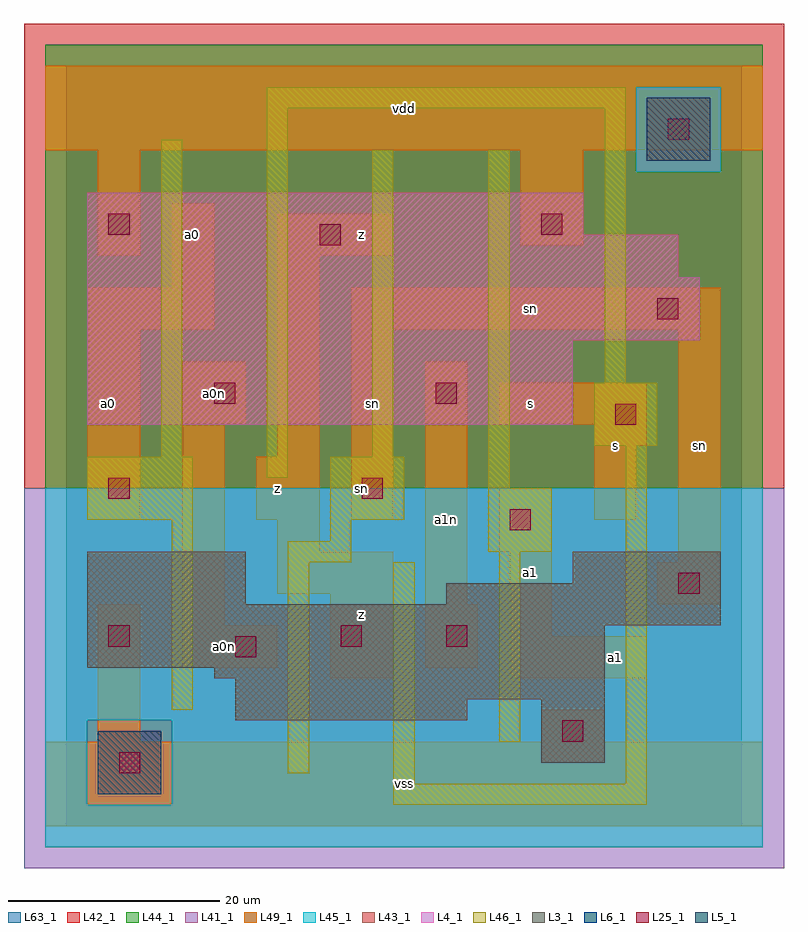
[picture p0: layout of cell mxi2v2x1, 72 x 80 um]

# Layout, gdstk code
import gdstk
lib = gdstk.Library(unit=1e-6, precision=1e-09)
def R(c, l, rs):  # rectangles x0, y0, x1, y1
    for r in rs: c.add(gdstk.rectangle(r[:2], r[2:], *l))
L3_1 = (3, 1)
L4_1 = (4, 1)
L5_1 = (5, 1)
L6_1 = (6, 1)
L25_1 = (25, 1)
L41_1 = (41, 1)
L42_1 = (42, 1)
L43_1 = (43, 1)
L44_1 = (44, 1)
L45_1 = (45, 1)
L46_1 = (46, 1)
L49_1 = (49, 1)
L63_1 = (63, 1)

mxi2v2x1 = lib.new_cell('mxi2v2x1')
R(mxi2v2x1, L3_1, [(45,6,51,12), (16,10,38,12), (16,12,51,14), (14,14,51,15), (2,15,51,19), (2,19,62,21), (2,21,17,26), (36,21,62,23), (48,23,62,26)])
R(mxi2v2x1, L4_1, [(2,38,48,46), (2,46,60,52), (2,52,58,56), (2,56,49,60)])
R(mxi2v2x1, L5_1, [(55,63,61,69)])
R(mxi2v2x1, L6_1, [(3,3,9,9), (3,3,9,9)])
R(mxi2v2x1, L25_1, [(5,5,7,7), (47,8,49,10), (16,16,18,18), (4,17,6,19), (26,17,28,19), (36,17,38,19), (58,22,60,24), (42,28,44,30), (4,31,6,33), (28,31,30,33), (52,38,54,40), (14,40,16,42), (35,40,37,42), (56,48,58,50), (24,55,26,57), (4,56,6,58), (45,56,47,58), (57,65,59,67)])
R(mxi2v2x1, L41_1, [(-4,-4,68,32)])
R(mxi2v2x1, L42_1, [(-4,32,68,76)])
R(mxi2v2x1, L43_1, [(3,3,9,9), (45,6,51,12), (16,10,38,12), (16,12,51,14), (14,14,51,15), (2,15,51,19), (2,19,62,21), (2,21,17,26), (36,21,62,23), (48,23,62,26), (2,38,48,46), (2,46,60,52), (2,52,58,56), (2,56,49,60), (55,63,61,69)])
R(mxi2v2x1, L44_1, [(2,2,10,10), (-2,32,66,62), (-2,62,54,70), (62,62,66,70), (-2,70,66,74)])
R(mxi2v2x1, L45_1, [(-2,-2,66,2), (-2,2,2,10), (10,2,66,10), (-2,10,66,32), (54,62,62,70)])
R(mxi2v2x1, L46_1, [(31,2,55,4), (31,4,33,25), (53,4,55,36), (21,5,23,25), (41,8,43,26), (10,11,12,29), (21,25,27,27), (40,26,46,32), (25,27,27,29), (2,29,12,35), (25,29,32,35), (40,32,42,64), (19,33,21,68), (9,35,11,65), (29,35,31,64), (50,36,56,42), (51,42,53,68), (19,68,53,70)])
R(mxi2v2x1, L49_1, [(-2,0,66,8), (3,8,7,21), (45,8,51,11), (25,14,31,22), (42,14,55,18), (11,15,20,19), (34,15,39,21), (42,18,46,26), (11,19,15,38), (34,21,38,44), (56,21,62,25), (20,22,31,26), (58,25,62,47), (20,26,24,29), (41,26,46,32), (2,29,7,47), (18,29,24,35), (27,29,31,47), (50,29,54,36), (20,35,24,54), (50,36,55,38), (11,38,17,44), (41,38,55,42), (2,47,14,51), (27,47,62,51), (10,51,14,59), (3,54,7,64), (20,54,31,58), (43,55,49,64), (-2,64,66,72)])
R(mxi2v2x1, L63_1, [(0,0,64,72)])
mxi2v2x1.add(gdstk.Label('sn', (28,32), layer=49, texttype=1))
mxi2v2x1.add(gdstk.Label('a0', (4,40), layer=49, texttype=1))
mxi2v2x1.add(gdstk.Label('a0', (12,56), layer=49, texttype=1))
mxi2v2x1.add(gdstk.Label('z', (28,20), layer=49, texttype=1))
mxi2v2x1.add(gdstk.Label('a0n', (15,17), layer=49, texttype=1))
mxi2v2x1.add(gdstk.Label('z', (20,32), layer=49, texttype=1))
mxi2v2x1.add(gdstk.Label('sn', (29,40), layer=49, texttype=1))
mxi2v2x1.add(gdstk.Label('a0n', (14,41), layer=49, texttype=1))
mxi2v2x1.add(gdstk.Label('z', (28,56), layer=49, texttype=1))
mxi2v2x1.add(gdstk.Label('vss', (32,4), layer=49, texttype=1))
mxi2v2x1.add(gdstk.Label('a1', (44,24), layer=49, texttype=1))
mxi2v2x1.add(gdstk.Label('s', (44,40), layer=49, texttype=1))
mxi2v2x1.add(gdstk.Label('a1n', (36,29), layer=49, texttype=1))
mxi2v2x1.add(gdstk.Label('vdd', (32,68), layer=49, texttype=1))
mxi2v2x1.add(gdstk.Label('a1', (52,16), layer=49, texttype=1))
mxi2v2x1.add(gdstk.Label('sn', (60,36), layer=49, texttype=1))
mxi2v2x1.add(gdstk.Label('s', (52,36), layer=49, texttype=1))
mxi2v2x1.add(gdstk.Label('sn', (44,49), layer=49, texttype=1))

lib.write_gds('mxi2v2x1.gds')
